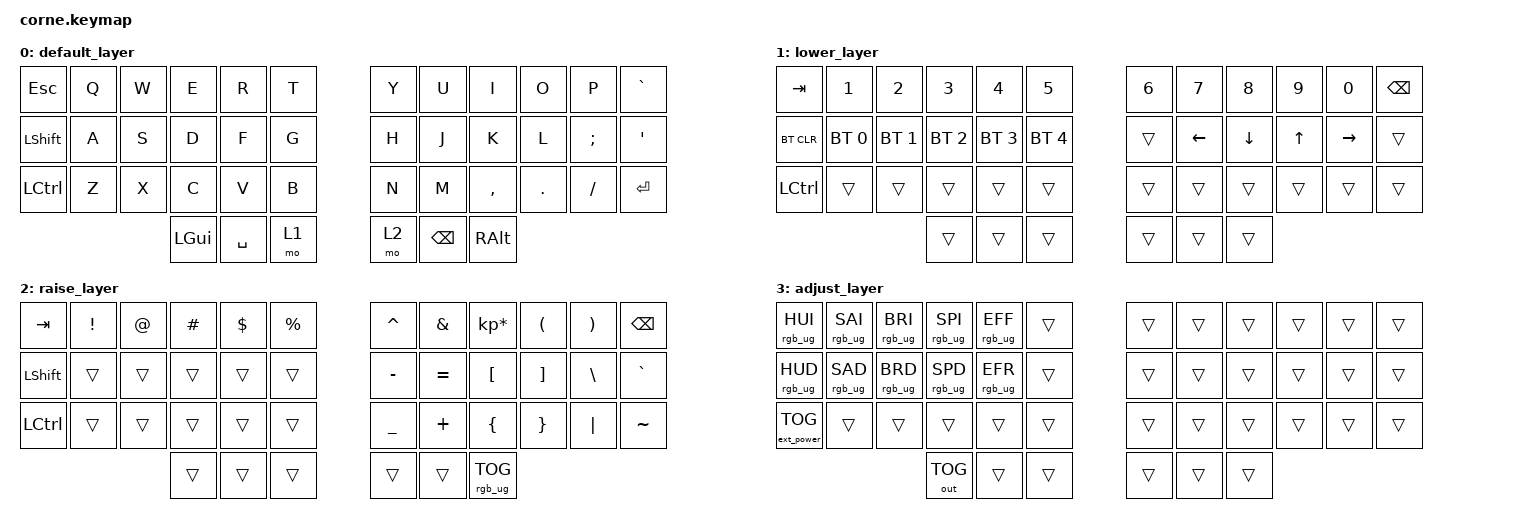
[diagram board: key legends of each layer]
/*
 * Copyright (c) 2020 The ZMK Contributors
 *
 * SPDX-License-Identifier: MIT
 */

#include <behaviors.dtsi>
#include <dt-bindings/zmk/keys.h>
#include <dt-bindings/zmk/bt.h>
#include <dt-bindings/led/led.h>
#include <dt-bindings/zmk/ext_power.h>
#include <dt-bindings/zmk/rgb.h>
#include <dt-bindings/zmk/outputs.h>

/ {
    conditional_layers {
        compatible = "zmk,conditional-layers";
        tri_layer {
            if-layers = <1 2>;
            then-layer = <3>;
        };
    };
};

/ {
        keymap {
                compatible = "zmk,keymap";

                default_layer {
                        bindings = <
   &kp ESC   &kp Q &kp    W &kp     E &kp R &kp T &kp Y    &kp    U &kp     I &kp   O &kp P    &kp GRAVE
   &kp LSHFT &kp A &kp    S &kp     D &kp F &kp G &kp H    &kp    J &kp     K &kp   L &kp SEMI &kp SQT
   &kp LCTRL &kp Z &kp    X &kp     C &kp V &kp B &kp N    &kp    M &kp COMMA &kp DOT &kp FSLH &kp RET
                   &kp LGUI &kp SPACE &mo 1 &mo 2 &kp BSPC &kp RALT
                        >;
                };
                lower_layer {
                        bindings = <
   &kp TAB    &kp N1       &kp N2       &kp N3       &kp N4       &kp N5         &kp N6   &kp N7   &kp N8 &kp N9    &kp N0 &kp BSPC
   &bt BT_CLR &bt BT_SEL 0 &bt BT_SEL 1 &bt BT_SEL 2 &bt BT_SEL 3 &bt BT_SEL 4   &trans   &kp LEFT &kp DOWN &kp UP &kp RIGHT  &trans
   &kp LCTRL  &trans       &trans       &trans       &trans       &trans         &trans   &trans   &trans &trans    &trans &trans
                           &trans       &trans       &trans       &trans         &trans   &trans 
                        >;
                };

                raise_layer {
                        bindings = <
   &kp   TAB &kp EXCL &kp AT &kp HASH &kp DLLR &kp PRCNT   &kp CARET &kp AMPS  &kp KP_MULTIPLY &kp LPAR &kp RPAR &kp BSPC
   &kp LSHFT &trans   &trans &trans   &trans   &trans      &kp MINUS &kp EQUAL &kp LBKT        &kp RBKT &kp BSLH &kp GRAVE
   &kp LCTRL &trans   &trans &trans   &trans   &trans      &kp UNDER &kp PLUS  &kp LBRC        &kp RBRC &kp PIPE &kp TILDE
                    	     &trans   &trans   &trans      &trans    &trans    &rgb_ug RGB_TOG 
                        >;
                };

                adjust_layer {
                        bindings = <
   &rgb_ug RGB_HUI   &rgb_ug RGB_SAI &rgb_ug RGB_BRI &rgb_ug RGB_SPI &rgb_ug RGB_EFF &trans &trans &trans &trans &trans &trans &trans
   &rgb_ug RGB_HUD   &rgb_ug RGB_SAD &rgb_ug RGB_BRD &rgb_ug RGB_SPD &rgb_ug RGB_EFR &trans &trans &trans &trans &trans &trans &trans
   &ext_power EP_TOG &trans          &trans          &trans &trans &trans &trans &trans &trans &trans &trans &trans
                    	                             &out OUT_TOG &trans &trans &trans &trans &trans    
                        >;
                };
        };
};
